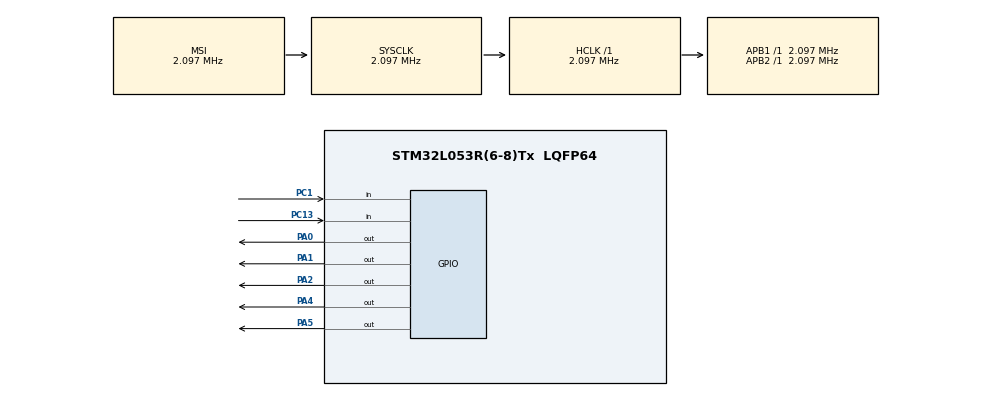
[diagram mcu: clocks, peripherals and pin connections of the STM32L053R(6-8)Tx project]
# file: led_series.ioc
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Mcu.Family=STM32L0
Mcu.Name=STM32L053R(6-8)Tx
Mcu.Package=LQFP64
PA0.Signal=GPIO_Output
PA1.Signal=GPIO_Output
PA2.Signal=GPIO_Output
PA4.Signal=GPIO_Output
PA5.Signal=GPIO_Output
PC1.Signal=GPIO_Input
PC13.Signal=GPIO_Input
ProjectManager.HeapSize=0x200
ProjectManager.StackSize=0x400
ProjectManager.TargetToolchain=STM32CubeIDE
RCC.AHBFreq_Value=2097000
RCC.APB1Freq_Value=2097000
RCC.APB1TimFreq_Value=2097000
RCC.APB2Freq_Value=2097000
RCC.APB2TimFreq_Value=2097000
RCC.HSE_VALUE=8000000
RCC.HSI16_VALUE=16000000
RCC.HSI48_VALUE=48000000
RCC.HSI_VALUE=16000000
RCC.LSE_VALUE=32768
RCC.MSI_VALUE=2097000
RCC.SYSCLKFreq_VALUE=2097000
RCC.VCOOutputFreq_Value=48000000
board=custom

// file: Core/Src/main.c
/* USER CODE BEGIN Header */
/**
  ******************************************************************************
  * @file           : main.c
  * @brief          : Main program body
  ******************************************************************************
  * @attention
  *
  * Copyright (c) 2023 STMicroelectronics.
  * All rights reserved.
  *
  * This software is licensed under terms that can be found in the LICENSE file
  * in the root directory of this software component.
  * If no LICENSE file comes with this software, it is provided AS-IS.
  *
  ******************************************************************************
  */
/* USER CODE END Header */
#include "main.h"

void SystemClock_Config(void);
static void MX_GPIO_Init(void);

int main(void)
{
  /* USER CODE BEGIN 1 */
	void loop() {
		for (int i = 0; i < 10000; i++);
	}

	HAL_GPIO_WritePin(GPIOA, GPIO_PIN_5, GPIO_PIN_SET);

	HAL_GPIO_WritePin(GPIOA, GPIO_PIN_0, GPIO_PIN_RESET);
	HAL_GPIO_WritePin(GPIOA, GPIO_PIN_1, GPIO_PIN_RESET);
	HAL_GPIO_WritePin(GPIOA, GPIO_PIN_4, GPIO_PIN_RESET);
  /* USER CODE END 1 */

  /* MCU Configuration--------------------------------------------------------*/

  /* Reset of all peripherals, Initializes the Flash interface and the Systick. */
  HAL_Init();

  /* Configure the system clock */
  SystemClock_Config();

  /* Initialize all configured peripherals */
  MX_GPIO_Init();

  /* Infinite loop */
  /* USER CODE BEGIN WHILE */
  while (1)
  {
	  GPIO_PinState state = HAL_GPIO_ReadPin(GPIOC, GPIO_PIN_13);
	  if(state == GPIO_PIN_RESET) {
		  HAL_GPIO_WritePin(GPIOA, GPIO_PIN_5, GPIO_PIN_SET);
	  } else {
		  HAL_GPIO_WritePin(GPIOA, GPIO_PIN_5, GPIO_PIN_RESET);
	  }

	  if(state == GPIO_PIN_RESET) {
		  HAL_GPIO_WritePin(GPIOA, GPIO_PIN_0, GPIO_PIN_SET);
		  loop();
		  HAL_GPIO_WritePin(GPIOA, GPIO_PIN_0, GPIO_PIN_RESET);
		  HAL_GPIO_WritePin(GPIOA, GPIO_PIN_1, GPIO_PIN_SET);
		  loop();
		  HAL_GPIO_WritePin(GPIOA, GPIO_PIN_1, GPIO_PIN_RESET);
		  HAL_GPIO_WritePin(GPIOA, GPIO_PIN_4, GPIO_PIN_SET);
		  loop();
		  HAL_GPIO_WritePin(GPIOA, GPIO_PIN_4, GPIO_PIN_RESET);
	  }
    /* USER CODE END WHILE */

  }
}

void SystemClock_Config(void)
{
  RCC_OscInitTypeDef RCC_OscInitStruct = {0};
  RCC_ClkInitTypeDef RCC_ClkInitStruct = {0};

  /** Configure the main internal regulator output voltage
  */
  __HAL_PWR_VOLTAGESCALING_CONFIG(PWR_REGULATOR_VOLTAGE_SCALE1);

  /** Initializes the RCC Oscillators according to the specified parameters
  * in the RCC_OscInitTypeDef structure.
  */
  RCC_OscInitStruct.OscillatorType = RCC_OSCILLATORTYPE_MSI;
  RCC_OscInitStruct.MSIState = RCC_MSI_ON;
  RCC_OscInitStruct.MSICalibrationValue = 0;
  RCC_OscInitStruct.MSIClockRange = RCC_MSIRANGE_5;
  RCC_OscInitStruct.PLL.PLLState = RCC_PLL_NONE;
  if (HAL_RCC_OscConfig(&RCC_OscInitStruct) != HAL_OK)
  {
    Error_Handler();
  }

  /** Initializes the CPU, AHB and APB buses clocks
  */
  RCC_ClkInitStruct.ClockType = RCC_CLOCKTYPE_HCLK|RCC_CLOCKTYPE_SYSCLK
                              |RCC_CLOCKTYPE_PCLK1|RCC_CLOCKTYPE_PCLK2;
  RCC_ClkInitStruct.SYSCLKSource = RCC_SYSCLKSOURCE_MSI;
  RCC_ClkInitStruct.AHBCLKDivider = RCC_SYSCLK_DIV1;
  RCC_ClkInitStruct.APB1CLKDivider = RCC_HCLK_DIV1;
  RCC_ClkInitStruct.APB2CLKDivider = RCC_HCLK_DIV1;

  if (HAL_RCC_ClockConfig(&RCC_ClkInitStruct, FLASH_LATENCY_0) != HAL_OK)
  {
    Error_Handler();
  }
}

static void MX_GPIO_Init(void)
{
  GPIO_InitTypeDef GPIO_InitStruct = {0};

  /* GPIO Ports Clock Enable */
  __HAL_RCC_GPIOC_CLK_ENABLE();
  __HAL_RCC_GPIOA_CLK_ENABLE();

  /*Configure GPIO pin Output Level */
  HAL_GPIO_WritePin(GPIOA, GPIO_PIN_0|GPIO_PIN_1|GPIO_PIN_2|GPIO_PIN_4
                          |GPIO_PIN_5, GPIO_PIN_RESET);

  /*Configure GPIO pins : PC13 PC1 */
  GPIO_InitStruct.Pin = GPIO_PIN_13|GPIO_PIN_1;
  GPIO_InitStruct.Mode = GPIO_MODE_INPUT;
  GPIO_InitStruct.Pull = GPIO_NOPULL;
  HAL_GPIO_Init(GPIOC, &GPIO_InitStruct);

  /*Configure GPIO pins : PA0 PA1 PA2 PA4
                           PA5 */
  GPIO_InitStruct.Pin = GPIO_PIN_0|GPIO_PIN_1|GPIO_PIN_2|GPIO_PIN_4
                          |GPIO_PIN_5;
  GPIO_InitStruct.Mode = GPIO_MODE_OUTPUT_PP;
  GPIO_InitStruct.Pull = GPIO_NOPULL;
  GPIO_InitStruct.Speed = GPIO_SPEED_FREQ_LOW;
  HAL_GPIO_Init(GPIOA, &GPIO_InitStruct);

}

void Error_Handler(void)
{
  __disable_irq();
  while (1)
  {
  }
}
